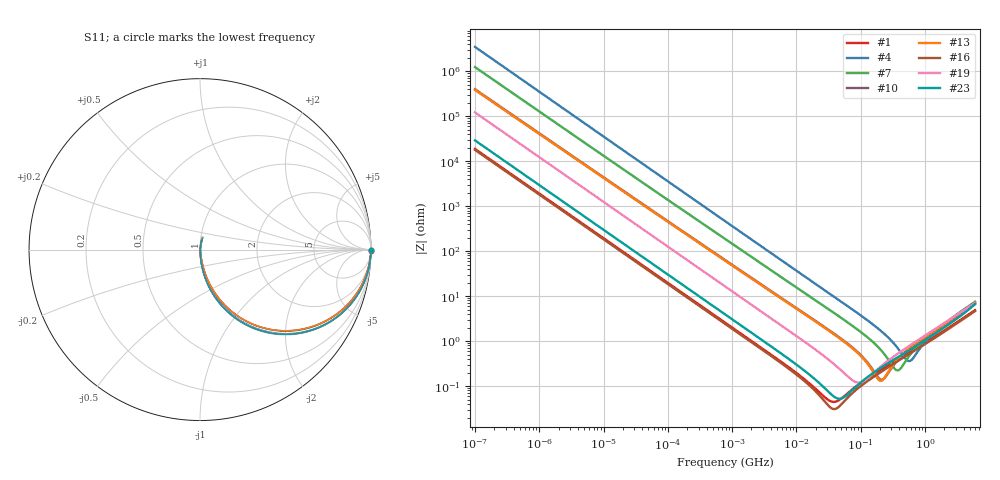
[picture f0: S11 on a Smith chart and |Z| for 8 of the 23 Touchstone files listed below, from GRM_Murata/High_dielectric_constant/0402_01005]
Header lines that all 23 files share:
!These Parameters are Measured in Series Mode Connection
!Data Generated on Mar 30, 2021
!  o--ll--o
!Port1  Port2
!  o------o
!Operation Temp=25[degC], DC Bias Voltage=0[V]
!Freq. Start=100[Hz] Stop=6[GHz] 401[Steps]
# Hz S RI R 50
!Freq.(Hz) S11(Real) S11(Imag) S21(Real) S21(Imag) S12(Real) S12(Imag) S22(Real) S22(Imag)
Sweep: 100 Hz to 6 GHz
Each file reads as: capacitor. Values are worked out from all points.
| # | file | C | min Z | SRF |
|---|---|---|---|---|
| 1 | GRM02YD70E104ME01.s2p | 84.6 nF | 44.4 mohm | 39.29 MHz |
| 2 | GRM022B11A221KA01.s2p | 222 pF | 512 mohm | 888.6 MHz |
| 3 | GRM022B11A331KA01.s2p | 335 pF | 482 mohm | 642.7 MHz |
| 4 | GRM022B11A471KA01.s2p | 457 pF | 360 mohm | 562.8 MHz |
| 5 | GRM022B11A680KA01.s2p | 70.7 pF | 1.12 ohm | 1.532 GHz |
| 6 | GRM022B30J102KE19.s2p | 865 pF | 269 mohm | 435 MHz |
| 7 | GRM022B30J152KE19.s2p | 1.28 nF | 222 mohm | 374.3 MHz |
| 8 | GRM022B30J222ME19.s2p | 1.91 nF | 157 mohm | 319.1 MHz |
| 9 | GRM022B30J332ME19.s2p | 2.68 nF | 173 mohm | 246.4 MHz |
| 10 | GRM022B30J472KE19.s2p | 3.95 nF | 139 mohm | 213.2 MHz |
| 11 | GRM022B30J682ME19.s2p | 5.58 nF | 120 mohm | 166.9 MHz |
| 12 | GRM022B31A103KE19.s2p | 8.11 nF | 94.1 mohm | 143.6 MHz |
| 13 | GRM022B31A472KE19.s2p | 4.1 nF | 131 mohm | 206 MHz |
| 14 | GRM022B31A681KE19.s2p | 567 pF | 354 mohm | 541.2 MHz |
| 15 | GRM022D70E474ME01.s2p | 390 nF | 16.4 mohm | 17.98 MHz |
| 16 | GRM022D80E104ME15.s2p | 88.9 nF | 30.8 mohm | 39.77 MHz |
| 17 | GRM022D80E224ME14.s2p | 174 nF | 69.5 mohm | 31.79 MHz |
| 18 | GRM022R60G104ME15.s2p | 83.7 nF | 40.3 mohm | 38.97 MHz |
| 19 | GRM022R60G153ME15.s2p | 13.1 nF | 119 mohm | 93.86 MHz |
| 20 | GRM022R60G223KE15.s2p | 20.3 nF | 89.9 mohm | 76.1 MHz |
| 21 | GRM022R60G333KE15.s2p | 29.9 nF | 76 mohm | 62.12 MHz |
| 22 | GRM022R60G473KE15.s2p | 44.6 nF | 63.9 mohm | 51.75 MHz |
| 23 | GRM022R60G683ME15.s2p | 54.7 nF | 52.3 mohm | 47.55 MHz |
